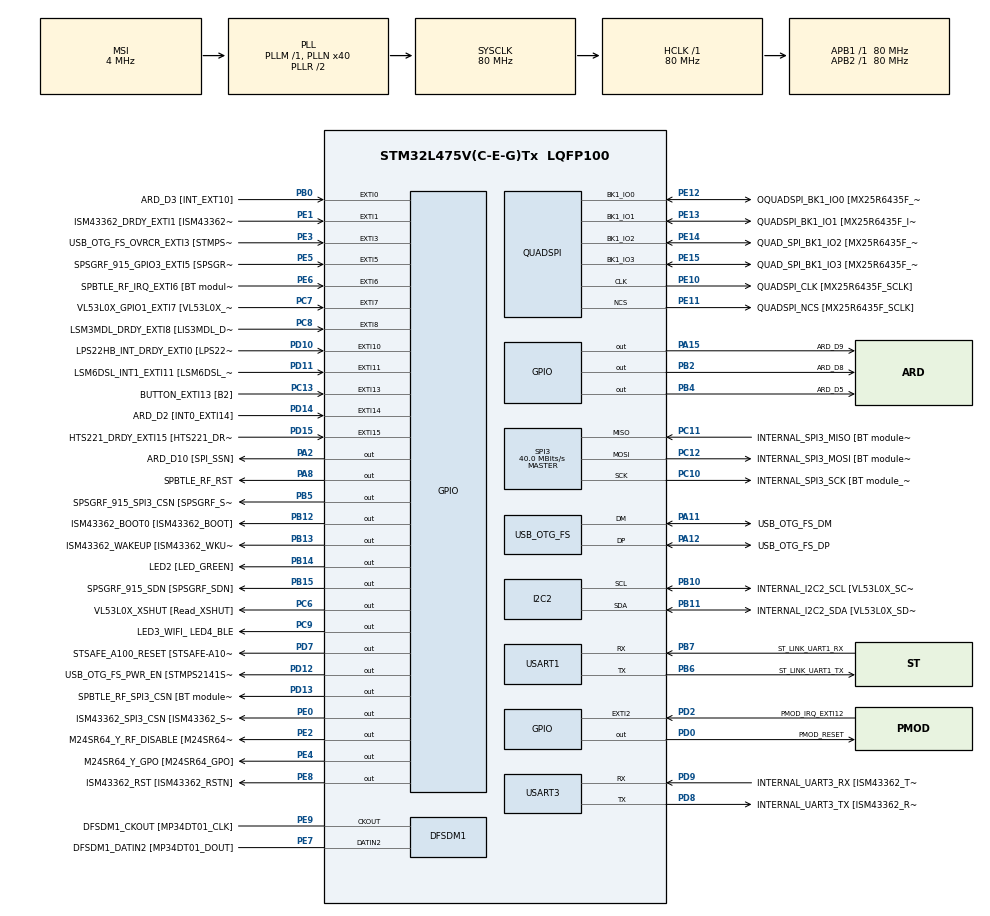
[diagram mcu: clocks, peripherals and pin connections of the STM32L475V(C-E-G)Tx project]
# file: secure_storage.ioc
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Mcu.Family=STM32L4
Mcu.Name=STM32L475V(C-E-G)Tx
Mcu.Package=LQFP100
NVIC.EXTI15_10_IRQn=true\:0\:0\:false\:false\:true\:true\:true\:true
NVIC.EXTI9_5_IRQn=true\:0\:0\:false\:false\:true\:true\:true\:true
NVIC.PriorityGroup=NVIC_PRIORITYGROUP_4
PA0.GPIO_Label=ARD_D1 [UART4_TX]
PA0.Signal=UART4_TX
PA1.GPIO_Label=ARD_D0 [UART4_RX]
PA1.Signal=UART4_RX
PA10.GPIO_Label=USB_OTG_FS_ID
PA10.Signal=USB_OTG_FS_ID
PA11.GPIO_Label=USB_OTG_FS_DM
PA11.Mode=Device_Only
PA11.Signal=USB_OTG_FS_DM
PA12.GPIO_Label=USB_OTG_FS_DP
PA12.Mode=Device_Only
PA12.Signal=USB_OTG_FS_DP
PA13\ (JTMS-SWDIO).GPIO_Label=SYS_JTMS_SWDIO
PA13\ (JTMS-SWDIO).Mode=Serial_Wire
PA13\ (JTMS-SWDIO).Signal=SYS_JTMS-SWDIO
PA14\ (JTCK-SWCLK).GPIO_Label=SYS_JTCK_SWCLK
PA14\ (JTCK-SWCLK).Mode=Serial_Wire
PA14\ (JTCK-SWCLK).Signal=SYS_JTCK-SWCLK
PA15\ (JTDI).GPIO_Label=ARD_D9
PA15\ (JTDI).Signal=GPIO_Output
PA2.GPIO_Label=ARD_D10 [SPI_SSN]
PA2.Signal=GPIO_Output
PA3.GPIO_Label=ARD_D4
PA3.Signal=S_TIM2_CH4
PA4.GPIO_Label=ARD_D7
PA4.Signal=ADCx_IN9
PA5.GPIO_Label=ARD_D13 [SPI1_SCK]
PA5.Signal=SPI1_SCK
PA6.GPIO_Label=ARD_D12 [SPI1_MISO]
PA6.Signal=SPI1_MISO
PA7.GPIO_Label=ARD_D11 [SPI1_MOSI]
PA7.Signal=SPI1_MOSI
PA8.GPIO_Label=SPBTLE_RF_RST
PA8.Signal=GPIO_Output
PA9.GPIO_Label=USB_OTG_FS_VBUS [STMPS2141STR_OUT]
PA9.Signal=USB_OTG_FS_VBUS
PB0.GPIO_Label=ARD_D3 [INT_EXT10]
PB0.Signal=GPXTI0
PB1.GPIO_Label=ARD_D6 [ADC1_IN6]
PB1.Signal=ADCx_IN16
PB10.GPIO_Label=INTERNAL_I2C2_SCL [VL53L0X_SCL]
PB10.GPIO_Pu=GPIO_PULLUP
PB10.Mode=I2C
PB10.Signal=I2C2_SCL
PB11.GPIO_Label=INTERNAL_I2C2_SDA [VL53L0X_SDA]
PB11.GPIO_Pu=GPIO_PULLUP
PB11.Mode=I2C
PB11.Signal=I2C2_SDA
PB12.GPIO_Label=ISM43362_BOOT0 [ISM43362_BOOT]
PB12.Signal=GPIO_Output
PB13.GPIO_Label=ISM43362_WAKEUP [ISM43362_WKUP]
PB13.Signal=GPIO_Output
PB14.GPIO_Label=LED2 [LED_GREEN]
PB14.Signal=GPIO_Output
PB15.GPIO_Label=SPSGRF_915_SDN [SPSGRF_SDN]
PB15.Signal=GPIO_Output
PB2.GPIO_Label=ARD_D8
PB2.Signal=GPIO_Output
PB3\ (JTDO-TRACESWO).GPIO_Label=SYS_JTD0_SWO
PB3\ (JTDO-TRACESWO).Signal=SYS_JTDO-SWO
PB4\ (NJTRST).GPIO_Label=ARD_D5
PB4\ (NJTRST).Signal=GPIO_Output
PB5.GPIO_Label=SPSGRF_915_SPI3_CSN [SPSGRF_SPI_CS]
PB5.PinState=GPIO_PIN_SET
PB5.Signal=GPIO_Output
PB6.GPIO_Label=ST_LINK_UART1_TX
PB6.Mode=Asynchronous
PB6.Signal=USART1_TX
PB7.GPIO_Label=ST_LINK_UART1_RX
PB7.Mode=Asynchronous
PB7.Signal=USART1_RX
PB8.GPIO_Label=ARD_D15 [I2C1_SCL]
PB8.Signal=I2C1_SCL
PB9.GPIO_Label=ARD_D14 [I2C1_SDA]
PB9.Signal=I2C1_SDA
PC0.GPIO_Label=ARD_A5 [ADC]
PC0.Signal=ADCx_IN1
PC1.GPIO_Label=ARD_A4 [ADC]
PC1.Signal=ADCx_IN2
PC10.GPIO_Label=INTERNAL_SPI3_SCK [BT module_SPI_SCLK] [ISM43362_SCK]
PC10.Mode=Full_Duplex_Master
PC10.Signal=SPI3_SCK
PC11.GPIO_Label=INTERNAL_SPI3_MISO [BT module_SPI_MISO] [ISM43362_MISO]
PC11.Mode=Full_Duplex_Master
PC11.Signal=SPI3_MISO
PC12.GPIO_Label=INTERNAL_SPI3_MOSI [BT module_SPI_MOSI] [ISM43362_MOSI]
PC12.Mode=Full_Duplex_Master
PC12.Signal=SPI3_MOSI
PC13.GPIO_Label=BUTTON_EXTI13 [B2]
PC13.GPIO_ModeDefaultEXTI=GPIO_MODE_IT_FALLING
PC13.Signal=GPXTI13
PC14-OSC32_IN\ (PC14).Mode=LSE-External-Oscillator
PC14-OSC32_IN\ (PC14).Signal=RCC_OSC32_IN
PC15-OSC32_OUT\ (PC15).Mode=LSE-External-Oscillator
PC15-OSC32_OUT\ (PC15).Signal=RCC_OSC32_OUT
PC2.GPIO_Label=ARD_A3 [ADC]
PC2.Signal=ADCx_IN3
PC3.GPIO_Label=ARD_A2 [ADC]
PC3.Signal=ADCx_IN4
PC4.GPIO_Label=ARD_A1 [ADC]
PC4.Signal=ADCx_IN13
PC5.GPIO_Label=ARD_A0 [ADC]
PC5.Signal=ADCx_IN14
PC6.GPIO_Label=VL53L0X_XSHUT [Read_XSHUT]
PC6.Signal=GPIO_Output
PC7.GPIO_Label=VL53L0X_GPIO1_EXTI7 [VL53L0X_GPIO1]
PC7.Signal=GPXTI7
PC8.GPIO_Label=LSM3MDL_DRDY_EXTI8 [LIS3MDL_DRDY]
PC8.Signal=GPXTI8
PC9.GPIO_Label=LED3_WIFI_ LED4_BLE
PC9.Signal=GPIO_Output
PD0.GPIO_Label=PMOD_RESET
PD0.Signal=GPIO_Output
PD1.GPIO_Label=PMOD_SPI2_SCK
PD1.Signal=SPI2_SCK
PD10.GPIO_Label=LPS22HB_INT_DRDY_EXTI0 [LPS22HB_INT_DRDY] 
PD10.Signal=GPXTI10
PD11.GPIO_Label=LSM6DSL_INT1_EXTI11 [LSM6DSL_INT1]
PD11.Signal=GPXTI11
PD12.GPIO_Label=USB_OTG_FS_PWR_EN [STMPS2141STR_EN]
PD12.Signal=GPIO_Output
PD13.GPIO_Label=SPBTLE_RF_SPI3_CSN [BT module_SPI_CS]
PD13.PinState=GPIO_PIN_SET
PD13.Signal=GPIO_Output
PD14.GPIO_Label=ARD_D2 [INT0_EXTI14]
PD14.Signal=GPXTI14
PD15.GPIO_Label=HTS221_DRDY_EXTI15 [HTS221_DRDY]
PD15.Signal=GPXTI15
PD2.GPIO_Label=PMOD_IRQ_EXTI12
PD2.Signal=GPXTI2
PD3.GPIO_Label=PMOD_UART2_CTS
PD3.Signal=USART2_CTS
PD4.GPIO_Label=PMOD_UART2_RTS
PD4.Signal=USART2_RTS
PD5.GPIO_Label=PMOD_UART2_TX
PD5.Signal=USART2_TX
PD6.GPIO_Label=PMOD_UART2_RX
PD6.Signal=USART2_RX
PD7.GPIO_Label=STSAFE_A100_RESET [STSAFE-A100_RESET]
PD7.Signal=GPIO_Output
PD8.GPIO_Label=INTERNAL_UART3_TX [ISM43362_RX]
PD8.Mode=Asynchronous
PD8.Signal=USART3_TX
PD9.GPIO_Label=INTERNAL_UART3_RX [ISM43362_TX]
PD9.Mode=Asynchronous
PD9.Signal=USART3_RX
PE0.GPIO_Label=ISM43362_SPI3_CSN [ISM43362_SSN]
PE0.PinState=GPIO_PIN_SET
PE0.Signal=GPIO_Output
PE1.GPIO_Label=ISM43362_DRDY_EXTI1 [ISM43362_DATARDY]
PE1.Signal=GPXTI1
PE10.GPIO_Label=QUADSPI_CLK [MX25R6435F_SCLK]
PE10.Mode=Single Bank
PE10.Signal=QUADSPI_CLK
PE11.GPIO_Label=QUADSPI_NCS [MX25R6435F_SCLK]
PE11.Mode=Single Bank
PE11.Signal=QUADSPI_NCS
PE12.GPIO_Label=OQUADSPI_BK1_IO0 [MX25R6435F_IO0]
PE12.Mode=Single Bank
PE12.Signal=QUADSPI_BK1_IO0
PE13.GPIO_Label=QUADSPI_BK1_IO1 [MX25R6435F_IO1]
PE13.Mode=Single Bank
PE13.Signal=QUADSPI_BK1_IO1
PE14.GPIO_Label=QUAD_SPI_BK1_IO2 [MX25R6435F_IO2]
PE14.Mode=Single Bank
PE14.Signal=QUADSPI_BK1_IO2
PE15.GPIO_Label=QUAD_SPI_BK1_IO3 [MX25R6435F_IO3]
PE15.Mode=Single Bank
PE15.Signal=QUADSPI_BK1_IO3
PE2.GPIO_Label=M24SR64_Y_RF_DISABLE [M24SR64_RFDIS]
PE2.Signal=GPIO_Output
PE3.GPIO_Label=USB_OTG_FS_OVRCR_EXTI3 [STMPS2141STR_FAULT]
PE3.Signal=GPXTI3
PE4.GPIO_Label=M24SR64_Y_GPO [M24SR64_GPO]
PE4.Signal=GPIO_Output
PE5.GPIO_Label=SPSGRF_915_GPIO3_EXTI5 [SPSGRF_GPIO_3]
PE5.Signal=GPXTI5
PE6.GPIO_Label=SPBTLE_RF_IRQ_EXTI6 [BT module_SPI_IRQ]
PE6.Signal=GPXTI6
PE7.GPIO_Label=DFSDM1_DATIN2 [MP34DT01_DOUT]
PE7.Signal=S_DATAIN2DFSDM1
PE8.GPIO_Label=ISM43362_RST [ISM43362_RSTN]
PE8.Signal=GPIO_Output
PE9.GPIO_Label=DFSDM1_CKOUT [MP34DT01_CLK]
PE9.Signal=S_CKOUTDFSDM1
ProjectManager.HeapSize=0x200
ProjectManager.StackSize=0x400
ProjectManager.TargetToolchain=STM32CubeIDE
QUADSPI.ClockPrescaler=2
QUADSPI.FifoThreshold=4
QUADSPI.FlashSize=23
QUADSPI.SampleShifting=QSPI_SAMPLE_SHIFTING_HALFCYCLE
RCC.ADCFreq_Value=48000000
RCC.AHBFreq_Value=80000000
RCC.APB1Freq_Value=80000000
RCC.APB1TimFreq_Value=80000000
RCC.APB2Freq_Value=80000000
RCC.APB2TimFreq_Value=80000000
RCC.CortexFreq_Value=80000000
RCC.HCLKFreq_Value=80000000
RCC.HSE_VALUE=8000000
RCC.HSI_VALUE=16000000
RCC.MSI_VALUE=4000000
RCC.PLLN=40
RCC.PLLSAI1N=24
RCC.SYSCLKFreq_VALUE=80000000
RCC.SYSCLKSource=RCC_SYSCLKSOURCE_PLLCLK
RCC.USBFreq_Value=48000000
RCC.VCOOutputFreq_Value=160000000
SH.ADCx_IN1.0=ADC1_IN1
SH.ADCx_IN13.0=ADC1_IN13
SH.ADCx_IN14.0=ADC1_IN14
SH.ADCx_IN16.0=ADC1_IN16
SH.ADCx_IN2.0=ADC1_IN2
SH.ADCx_IN3.0=ADC1_IN3
SH.ADCx_IN4.0=ADC1_IN4
SH.ADCx_IN9.0=ADC1_IN9
SH.S_CKOUTDFSDM1.0=DFSDM1_CKOUT,CKOUT
SH.S_CKOUTDFSDM1.1=DFSDM1_CKOUT,PDM_SPI_Input_from_ch12_and_Internal_Clock
SH.S_DATAIN2DFSDM1.0=DFSDM1_DATIN2,PDM_SPI_Input_from_ch12_and_Internal_Clock
SH.S_TIM2_CH4.0=TIM2_CH4
SPI3.CalculateBaudRate=40.0 MBits/s
SPI3.Direction=SPI_DIRECTION_2LINES
SPI3.Mode=SPI_MODE_MASTER
SPI3.VirtualType=VM_MASTER
USART1.VirtualMode-Asynchronous=VM_ASYNC
USART3.VirtualMode-Asynchronous=VM_ASYNC
USB_OTG_FS.VirtualMode=Device_Only
VP_RNG_VS_RNG.Mode=RNG_Activate
board=B-L475E-IOT01A1

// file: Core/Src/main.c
/* USER CODE BEGIN Header */
/**
  ******************************************************************************
  * @file           : main.c
  * @brief          : Main program body
  ******************************************************************************
  * @attention
  *
  * Copyright (c) 2024 STMicroelectronics.
  * All rights reserved.
  *
  * This software is licensed under terms that can be found in the LICENSE file
  * in the root directory of this software component.
  * If no LICENSE file comes with this software, it is provided AS-IS.
  *
  ******************************************************************************
  */
/* USER CODE END Header */
#include "main.h"

DFSDM_Channel_HandleTypeDef hdfsdm1_channel1;

I2C_HandleTypeDef hi2c2;

QSPI_HandleTypeDef hqspi;

RNG_HandleTypeDef hrng;

SPI_HandleTypeDef hspi3;

UART_HandleTypeDef huart1;
UART_HandleTypeDef huart3;

PCD_HandleTypeDef hpcd_USB_OTG_FS;

void SystemClock_Config(void);
void PeriphCommonClock_Config(void);
static void MX_GPIO_Init(void);
static void MX_DFSDM1_Init(void);
static void MX_I2C2_Init(void);
static void MX_QUADSPI_Init(void);
static void MX_SPI3_Init(void);
static void MX_USART1_UART_Init(void);
static void MX_USART3_UART_Init(void);
static void MX_USB_OTG_FS_PCD_Init(void);
static void MX_RNG_Init(void);

/* USER CODE BEGIN 0 */
#include "tee_client_api.h"

void rng_init(void)
{
	/* Enable RNG clock source */
	__HAL_RCC_RNG_CLK_ENABLE();

	/* RNG Peripheral enable */
	RNG->CR |= RNG_CR_RNGEN;
}

void rng_deinit(void)
{
	/* Disable RNG peripheral */
	RNG->CR &= ~RNG_CR_RNGEN;

	/* Disable RNG clock source */
	__HAL_RCC_RNG_CLK_DISABLE();
}

uint32_t rng_get(void)
{
	/* Wait until one RNG number is ready */
	while (!(RNG->SR & (RNG_SR_DRDY)));

	/* Get a 32-bit Random number */
	return RNG->DR;
}

/* USER CODE END 0 */

int main(void)
{

  /* MCU Configuration--------------------------------------------------------*/

  /* Reset of all peripherals, Initializes the Flash interface and the Systick. */
  HAL_Init();

  /* Configure the system clock */
  SystemClock_Config();

  /* Configure the peripherals common clocks */
  PeriphCommonClock_Config();

  /* Initialize all configured peripherals */
  MX_GPIO_Init();
  MX_DFSDM1_Init();
  MX_I2C2_Init();
  MX_QUADSPI_Init();
  MX_SPI3_Init();
  MX_USART1_UART_Init();
  MX_USART3_UART_Init();
  MX_USB_OTG_FS_PCD_Init();
  MX_RNG_Init();
  /* USER CODE BEGIN 2 */

  rng_init();

  static TEEC_UUID uuid = {0};
  TEEC_Context ctx;
  TEEC_Session sn;
  int ret = -1;

  ret = TEEC_InitializeContext("Example", &ctx);
  if(ret != 0){
	  return -1;
  }

  ret = TEEC_OpenSession(&ctx, &sn, &uuid, TEEC_LOGIN_PUBLIC, NULL, NULL, NULL);
  if(ret != 0){
	  return -1;
  }

  TEEC_Operation op = {0};

  ret = TEEC_InvokeCommand(&sn, TEEC_COMMAND_CREATE, &op, NULL);
  if(ret != 0){
	  return -1;
  }

  ret = TEEC_InvokeCommand(&sn, TEEC_COMMAND_READ, &op, NULL);
  if(ret != 0){
	  return -1;
  }

  // This will fail as the object already exists
  ret = TEEC_InvokeCommand(&sn, TEEC_COMMAND_WRITE, &op, NULL);

  ret = TEEC_InvokeCommand(&sn, TEEC_COMMAND_READ, &op, NULL);
  if(ret != 0){
	  return -1;
  }

  ret = TEEC_InvokeCommand(&sn, TEEC_COMMAND_DELETE, &op, NULL);
  if(ret != 0){
	  return -1;
  }

  // This will fail as the object was deleted
  ret = TEEC_InvokeCommand(&sn, TEEC_COMMAND_READ, &op, NULL);

  // Close session
  TEEC_CloseSession(&sn);

  // Finalize context
  TEEC_FinalizeContext(&ctx);

  rng_deinit();

  /* USER CODE END 2 */

  /* Infinite loop */
  while (1)
  {

  }
}

void SystemClock_Config(void)
{
  RCC_OscInitTypeDef RCC_OscInitStruct = {0};
  RCC_ClkInitTypeDef RCC_ClkInitStruct = {0};

  /** Configure the main internal regulator output voltage
  */
  if (HAL_PWREx_ControlVoltageScaling(PWR_REGULATOR_VOLTAGE_SCALE1) != HAL_OK)
  {
    Error_Handler();
  }

  /** Configure LSE Drive Capability
  */
  HAL_PWR_EnableBkUpAccess();
  __HAL_RCC_LSEDRIVE_CONFIG(RCC_LSEDRIVE_LOW);

  /** Initializes the RCC Oscillators according to the specified parameters
  * in the RCC_OscInitTypeDef structure.
  */

  /* MSI is enabled after System reset, activate PLL with MSI as source */
  RCC_OscInitStruct.OscillatorType = RCC_OSCILLATORTYPE_MSI;
  RCC_OscInitStruct.MSIState = RCC_MSI_ON;
  RCC_OscInitStruct.MSIClockRange = RCC_MSIRANGE_6;
  RCC_OscInitStruct.MSICalibrationValue = RCC_MSICALIBRATION_DEFAULT;
  RCC_OscInitStruct.PLL.PLLState = RCC_PLL_ON;
  RCC_OscInitStruct.PLL.PLLSource = RCC_PLLSOURCE_MSI;
  RCC_OscInitStruct.PLL.PLLM = 1;
  RCC_OscInitStruct.PLL.PLLN = 40;
  RCC_OscInitStruct.PLL.PLLR = 2;
  RCC_OscInitStruct.PLL.PLLP = 7;
  RCC_OscInitStruct.PLL.PLLQ = 4;
  if(HAL_RCC_OscConfig(&RCC_OscInitStruct) != HAL_OK)
  {
    /* Initialization Error */
    Error_Handler();
  }

  /* Select PLL as system clock source and configure the HCLK, PCLK1 and PCLK2 clocks dividers */
  RCC_ClkInitStruct.ClockType = (RCC_CLOCKTYPE_SYSCLK | RCC_CLOCKTYPE_HCLK | RCC_CLOCKTYPE_PCLK1 | RCC_CLOCKTYPE_PCLK2);
  RCC_ClkInitStruct.SYSCLKSource = RCC_SYSCLKSOURCE_PLLCLK;
  RCC_ClkInitStruct.AHBCLKDivider = RCC_SYSCLK_DIV1;
  RCC_ClkInitStruct.APB1CLKDivider = RCC_HCLK_DIV1;
  RCC_ClkInitStruct.APB2CLKDivider = RCC_HCLK_DIV1;
  if(HAL_RCC_ClockConfig(&RCC_ClkInitStruct, FLASH_LATENCY_4) != HAL_OK)
  {
    /* Initialization Error */
    Error_Handler();
  }

  /** Enable MSI Auto calibration
  */
  HAL_RCCEx_EnableMSIPLLMode();
}

void PeriphCommonClock_Config(void)
{
  RCC_PeriphCLKInitTypeDef PeriphClkInit = {0};

  /** Initializes the peripherals clock
  */
  PeriphClkInit.PeriphClockSelection = RCC_PERIPHCLK_USB|RCC_PERIPHCLK_RNG;
  PeriphClkInit.UsbClockSelection = RCC_USBCLKSOURCE_PLLSAI1;
  PeriphClkInit.RngClockSelection = RCC_RNGCLKSOURCE_PLLSAI1;
  PeriphClkInit.PLLSAI1.PLLSAI1Source = RCC_PLLSOURCE_MSI;
  PeriphClkInit.PLLSAI1.PLLSAI1M = 1;
  PeriphClkInit.PLLSAI1.PLLSAI1N = 24;
  PeriphClkInit.PLLSAI1.PLLSAI1P = RCC_PLLP_DIV7;
  PeriphClkInit.PLLSAI1.PLLSAI1Q = RCC_PLLQ_DIV2;
  PeriphClkInit.PLLSAI1.PLLSAI1R = RCC_PLLR_DIV2;
  PeriphClkInit.PLLSAI1.PLLSAI1ClockOut = RCC_PLLSAI1_48M2CLK;
  if (HAL_RCCEx_PeriphCLKConfig(&PeriphClkInit) != HAL_OK)
  {
    Error_Handler();
  }
}

static void MX_DFSDM1_Init(void)
{

  hdfsdm1_channel1.Instance = DFSDM1_Channel1;
  hdfsdm1_channel1.Init.OutputClock.Activation = ENABLE;
  hdfsdm1_channel1.Init.OutputClock.Selection = DFSDM_CHANNEL_OUTPUT_CLOCK_SYSTEM;
  hdfsdm1_channel1.Init.OutputClock.Divider = 2;
  hdfsdm1_channel1.Init.Input.Multiplexer = DFSDM_CHANNEL_EXTERNAL_INPUTS;
  hdfsdm1_channel1.Init.Input.DataPacking = DFSDM_CHANNEL_STANDARD_MODE;
  hdfsdm1_channel1.Init.Input.Pins = DFSDM_CHANNEL_FOLLOWING_CHANNEL_PINS;
  hdfsdm1_channel1.Init.SerialInterface.Type = DFSDM_CHANNEL_SPI_RISING;
  hdfsdm1_channel1.Init.SerialInterface.SpiClock = DFSDM_CHANNEL_SPI_CLOCK_INTERNAL;
  hdfsdm1_channel1.Init.Awd.FilterOrder = DFSDM_CHANNEL_FASTSINC_ORDER;
  hdfsdm1_channel1.Init.Awd.Oversampling = 1;
  hdfsdm1_channel1.Init.Offset = 0;
  hdfsdm1_channel1.Init.RightBitShift = 0x00;
  if (HAL_DFSDM_ChannelInit(&hdfsdm1_channel1) != HAL_OK)
  {
    Error_Handler();
  }

}

static void MX_I2C2_Init(void)
{

  hi2c2.Instance = I2C2;
  hi2c2.Init.Timing = 0x00000E14;
  hi2c2.Init.OwnAddress1 = 0;
  hi2c2.Init.AddressingMode = I2C_ADDRESSINGMODE_7BIT;
  hi2c2.Init.DualAddressMode = I2C_DUALADDRESS_DISABLE;
  hi2c2.Init.OwnAddress2 = 0;
  hi2c2.Init.OwnAddress2Masks = I2C_OA2_NOMASK;
  hi2c2.Init.GeneralCallMode = I2C_GENERALCALL_DISABLE;
  hi2c2.Init.NoStretchMode = I2C_NOSTRETCH_DISABLE;
  if (HAL_I2C_Init(&hi2c2) != HAL_OK)
  {
    Error_Handler();
  }

  /** Configure Analogue filter
  */
  if (HAL_I2CEx_ConfigAnalogFilter(&hi2c2, I2C_ANALOGFILTER_ENABLE) != HAL_OK)
  {
    Error_Handler();
  }

  /** Configure Digital filter
  */
  if (HAL_I2CEx_ConfigDigitalFilter(&hi2c2, 0) != HAL_OK)
  {
    Error_Handler();
  }

}

static void MX_QUADSPI_Init(void)
{

  /* QUADSPI parameter configuration*/
  hqspi.Instance = QUADSPI;
  hqspi.Init.ClockPrescaler = 2;
  hqspi.Init.FifoThreshold = 4;
  hqspi.Init.SampleShifting = QSPI_SAMPLE_SHIFTING_HALFCYCLE;
  hqspi.Init.FlashSize = 23;
  hqspi.Init.ChipSelectHighTime = QSPI_CS_HIGH_TIME_1_CYCLE;
  hqspi.Init.ClockMode = QSPI_CLOCK_MODE_0;
  if (HAL_QSPI_Init(&hqspi) != HAL_OK)
  {
    Error_Handler();
  }

}

static void MX_RNG_Init(void)
{

  hrng.Instance = RNG;
  if (HAL_RNG_Init(&hrng) != HAL_OK)
  {
    Error_Handler();
  }

}

static void MX_SPI3_Init(void)
{

  /* SPI3 parameter configuration*/
  hspi3.Instance = SPI3;
  hspi3.Init.Mode = SPI_MODE_MASTER;
  hspi3.Init.Direction = SPI_DIRECTION_2LINES;
  hspi3.Init.DataSize = SPI_DATASIZE_4BIT;
  hspi3.Init.CLKPolarity = SPI_POLARITY_LOW;
  hspi3.Init.CLKPhase = SPI_PHASE_1EDGE;
  hspi3.Init.NSS = SPI_NSS_SOFT;
  hspi3.Init.BaudRatePrescaler = SPI_BAUDRATEPRESCALER_2;
  hspi3.Init.FirstBit = SPI_FIRSTBIT_MSB;
  hspi3.Init.TIMode = SPI_TIMODE_DISABLE;
  hspi3.Init.CRCCalculation = SPI_CRCCALCULATION_DISABLE;
  hspi3.Init.CRCPolynomial = 7;
  hspi3.Init.CRCLength = SPI_CRC_LENGTH_DATASIZE;
  hspi3.Init.NSSPMode = SPI_NSS_PULSE_ENABLE;
  if (HAL_SPI_Init(&hspi3) != HAL_OK)
  {
    Error_Handler();
  }

}

static void MX_USART1_UART_Init(void)
{

  huart1.Instance = USART1;
  huart1.Init.BaudRate = 115200;
  huart1.Init.WordLength = UART_WORDLENGTH_8B;
  huart1.Init.StopBits = UART_STOPBITS_1;
  huart1.Init.Parity = UART_PARITY_NONE;
  huart1.Init.Mode = UART_MODE_TX_RX;
  huart1.Init.HwFlowCtl = UART_HWCONTROL_NONE;
  huart1.Init.OverSampling = UART_OVERSAMPLING_16;
  huart1.Init.OneBitSampling = UART_ONE_BIT_SAMPLE_DISABLE;
  huart1.AdvancedInit.AdvFeatureInit = UART_ADVFEATURE_NO_INIT;
  if (HAL_UART_Init(&huart1) != HAL_OK)
  {
    Error_Handler();
  }

}

static void MX_USART3_UART_Init(void)
{

  huart3.Instance = USART3;
  huart3.Init.BaudRate = 115200;
  huart3.Init.WordLength = UART_WORDLENGTH_8B;
  huart3.Init.StopBits = UART_STOPBITS_1;
  huart3.Init.Parity = UART_PARITY_NONE;
  huart3.Init.Mode = UART_MODE_TX_RX;
  huart3.Init.HwFlowCtl = UART_HWCONTROL_NONE;
  huart3.Init.OverSampling = UART_OVERSAMPLING_16;
  huart3.Init.OneBitSampling = UART_ONE_BIT_SAMPLE_DISABLE;
  huart3.AdvancedInit.AdvFeatureInit = UART_ADVFEATURE_NO_INIT;
  if (HAL_UART_Init(&huart3) != HAL_OK)
  {
    Error_Handler();
  }

}

static void MX_USB_OTG_FS_PCD_Init(void)
{

  hpcd_USB_OTG_FS.Instance = USB_OTG_FS;
  hpcd_USB_OTG_FS.Init.dev_endpoints = 6;
  hpcd_USB_OTG_FS.Init.speed = PCD_SPEED_FULL;
  hpcd_USB_OTG_FS.Init.phy_itface = PCD_PHY_EMBEDDED;
  hpcd_USB_OTG_FS.Init.Sof_enable = DISABLE;
  hpcd_USB_OTG_FS.Init.low_power_enable = DISABLE;
  hpcd_USB_OTG_FS.Init.lpm_enable = DISABLE;
  hpcd_USB_OTG_FS.Init.battery_charging_enable = DISABLE;
  hpcd_USB_OTG_FS.Init.use_dedicated_ep1 = DISABLE;
  hpcd_USB_OTG_FS.Init.vbus_sensing_enable = DISABLE;
  if (HAL_PCD_Init(&hpcd_USB_OTG_FS) != HAL_OK)
  {
    Error_Handler();
  }

}

static void MX_GPIO_Init(void)
{
  GPIO_InitTypeDef GPIO_InitStruct = {0};

  /* GPIO Ports Clock Enable */
  __HAL_RCC_GPIOE_CLK_ENABLE();
  __HAL_RCC_GPIOC_CLK_ENABLE();
  __HAL_RCC_GPIOA_CLK_ENABLE();
  __HAL_RCC_GPIOB_CLK_ENABLE();
  __HAL_RCC_GPIOD_CLK_ENABLE();

  /*Configure GPIO pin Output Level */
  HAL_GPIO_WritePin(GPIOE, M24SR64_Y_RF_DISABLE_Pin|M24SR64_Y_GPO_Pin|ISM43362_RST_Pin, GPIO_PIN_RESET);

  /*Configure GPIO pin Output Level */
  HAL_GPIO_WritePin(GPIOA, ARD_D10_Pin|SPBTLE_RF_RST_Pin|ARD_D9_Pin, GPIO_PIN_RESET);

  /*Configure GPIO pin Output Level */
  HAL_GPIO_WritePin(GPIOB, ARD_D8_Pin|ISM43362_BOOT0_Pin|ISM43362_WAKEUP_Pin|LED2_Pin
                          |SPSGRF_915_SDN_Pin|ARD_D5_Pin, GPIO_PIN_RESET);

  /*Configure GPIO pin Output Level */
  HAL_GPIO_WritePin(GPIOD, USB_OTG_FS_PWR_EN_Pin|PMOD_RESET_Pin|STSAFE_A100_RESET_Pin, GPIO_PIN_RESET);

  /*Configure GPIO pin Output Level */
  HAL_GPIO_WritePin(SPBTLE_RF_SPI3_CSN_GPIO_Port, SPBTLE_RF_SPI3_CSN_Pin, GPIO_PIN_SET);

  /*Configure GPIO pin Output Level */
  HAL_GPIO_WritePin(GPIOC, VL53L0X_XSHUT_Pin|LED3_WIFI__LED4_BLE_Pin, GPIO_PIN_RESET);

  /*Configure GPIO pin Output Level */
  HAL_GPIO_WritePin(SPSGRF_915_SPI3_CSN_GPIO_Port, SPSGRF_915_SPI3_CSN_Pin, GPIO_PIN_SET);

  /*Configure GPIO pin Output Level */
  HAL_GPIO_WritePin(ISM43362_SPI3_CSN_GPIO_Port, ISM43362_SPI3_CSN_Pin, GPIO_PIN_SET);

  /*Configure GPIO pins : M24SR64_Y_RF_DISABLE_Pin M24SR64_Y_GPO_Pin ISM43362_RST_Pin ISM43362_SPI3_CSN_Pin */
  GPIO_InitStruct.Pin = M24SR64_Y_RF_DISABLE_Pin|M24SR64_Y_GPO_Pin|ISM43362_RST_Pin|ISM43362_SPI3_CSN_Pin;
  GPIO_InitStruct.Mode = GPIO_MODE_OUTPUT_PP;
  GPIO_InitStruct.Pull = GPIO_NOPULL;
  GPIO_InitStruct.Speed = GPIO_SPEED_FREQ_LOW;
  HAL_GPIO_Init(GPIOE, &GPIO_InitStruct);

  /*Configure GPIO pins : USB_OTG_FS_OVRCR_EXTI3_Pin SPSGRF_915_GPIO3_EXTI5_Pin SPBTLE_RF_IRQ_EXTI6_Pin ISM43362_DRDY_EXTI1_Pin */
  GPIO_InitStruct.Pin = USB_OTG_FS_OVRCR_EXTI3_Pin|SPSGRF_915_GPIO3_EXTI5_Pin|SPBTLE_RF_IRQ_EXTI6_Pin|ISM43362_DRDY_EXTI1_Pin;
  GPIO_InitStruct.Mode = GPIO_MODE_IT_RISING;
  GPIO_InitStruct.Pull = GPIO_NOPULL;
  HAL_GPIO_Init(GPIOE, &GPIO_InitStruct);

  /*Configure GPIO pin : BUTTON_EXTI13_Pin */
  GPIO_InitStruct.Pin = BUTTON_EXTI13_Pin;
  GPIO_InitStruct.Mode = GPIO_MODE_IT_FALLING;
  GPIO_InitStruct.Pull = GPIO_NOPULL;
  HAL_GPIO_Init(BUTTON_EXTI13_GPIO_Port, &GPIO_InitStruct);

  /*Configure GPIO pins : ARD_A5_Pin ARD_A4_Pin ARD_A3_Pin ARD_A2_Pin
                           ARD_A1_Pin ARD_A0_Pin */
  GPIO_InitStruct.Pin = ARD_A5_Pin|ARD_A4_Pin|ARD_A3_Pin|ARD_A2_Pin
                          |ARD_A1_Pin|ARD_A0_Pin;
  GPIO_InitStruct.Mode = GPIO_MODE_ANALOG_ADC_CONTROL;
  GPIO_InitStruct.Pull = GPIO_NOPULL;
  HAL_GPIO_Init(GPIOC, &GPIO_InitStruct);

  /*Configure GPIO pins : ARD_D1_Pin ARD_D0_Pin */
  GPIO_InitStruct.Pin = ARD_D1_Pin|ARD_D0_Pin;
  GPIO_InitStruct.Mode = GPIO_MODE_AF_PP;
  GPIO_InitStruct.Pull = GPIO_NOPULL;
  GPIO_InitStruct.Speed = GPIO_SPEED_FREQ_VERY_HIGH;
  GPIO_InitStruct.Alternate = GPIO_AF8_UART4;
  HAL_GPIO_Init(GPIOA, &GPIO_InitStruct);

  /*Configure GPIO pins : ARD_D10_Pin SPBTLE_RF_RST_Pin ARD_D9_Pin */
  GPIO_InitStruct.Pin = ARD_D10_Pin|SPBTLE_RF_RST_Pin|ARD_D9_Pin;
  GPIO_InitStruct.Mode = GPIO_MODE_OUTPUT_PP;
  GPIO_InitStruct.Pull = GPIO_NOPULL;
  GPIO_InitStruct.Speed = GPIO_SPEED_FREQ_LOW;
  HAL_GPIO_Init(GPIOA, &GPIO_InitStruct);

  /*Configure GPIO pin : ARD_D4_Pin */
  GPIO_InitStruct.Pin = ARD_D4_Pin;
  GPIO_InitStruct.Mode = GPIO_MODE_AF_PP;
  GPIO_InitStruct.Pull = GPIO_NOPULL;
  GPIO_InitStruct.Speed = GPIO_SPEED_FREQ_LOW;
  GPIO_InitStruct.Alternate = GPIO_AF1_TIM2;
  HAL_GPIO_Init(ARD_D4_GPIO_Port, &GPIO_InitStruct);

  /*Configure GPIO pin : ARD_D7_Pin */
  GPIO_InitStruct.Pin = ARD_D7_Pin;
  GPIO_InitStruct.Mode = GPIO_MODE_ANALOG_ADC_CONTROL;
  GPIO_InitStruct.Pull = GPIO_NOPULL;
  HAL_GPIO_Init(ARD_D7_GPIO_Port, &GPIO_InitStruct);

  /*Configure GPIO pins : ARD_D13_Pin ARD_D12_Pin ARD_D11_Pin */
  GPIO_InitStruct.Pin = ARD_D13_Pin|ARD_D12_Pin|ARD_D11_Pin;
  GPIO_InitStruct.Mode = GPIO_MODE_AF_PP;
  GPIO_InitStruct.Pull = GPIO_NOPULL;
  GPIO_InitStruct.Speed = GPIO_SPEED_FREQ_VERY_HIGH;
  GPIO_InitStruct.Alternate = GPIO_AF5_SPI1;
  HAL_GPIO_Init(GPIOA, &GPIO_InitStruct);

  /*Configure GPIO pin : ARD_D3_Pin */
  GPIO_InitStruct.Pin = ARD_D3_Pin;
  GPIO_InitStruct.Mode = GPIO_MODE_IT_RISING;
  GPIO_InitStruct.Pull = GPIO_NOPULL;
  HAL_GPIO_Init(ARD_D3_GPIO_Port, &GPIO_InitStruct);

  /*Configure GPIO pin : ARD_D6_Pin */
  GPIO_InitStruct.Pin = ARD_D6_Pin;
  GPIO_InitStruct.Mode = GPIO_MODE_ANALOG_ADC_CONTROL;
  GPIO_InitStruct.Pull = GPIO_NOPULL;
  HAL_GPIO_Init(ARD_D6_GPIO_Port, &GPIO_InitStruct);

  /*Configure GPIO pins : ARD_D8_Pin ISM43362_BOOT0_Pin ISM43362_WAKEUP_Pin LED2_Pin
                           SPSGRF_915_SDN_Pin ARD_D5_Pin SPSGRF_915_SPI3_CSN_Pin */
  GPIO_InitStruct.Pin = ARD_D8_Pin|ISM43362_BOOT0_Pin|ISM43362_WAKEUP_Pin|LED2_Pin
                          |SPSGRF_915_SDN_Pin|ARD_D5_Pin|SPSGRF_915_SPI3_CSN_Pin;
  GPIO_InitStruct.Mode = GPIO_MODE_OUTPUT_PP;
  GPIO_InitStruct.Pull = GPIO_NOPULL;
  GPIO_InitStruct.Speed = GPIO_SPEED_FREQ_LOW;
  HAL_GPIO_Init(GPIOB, &GPIO_InitStruct);

  /*Configure GPIO pins : LPS22HB_INT_DRDY_EXTI0_Pin LSM6DSL_INT1_EXTI11_Pin ARD_D2_Pin HTS221_DRDY_EXTI15_Pin
                           PMOD_IRQ_EXTI12_Pin */
  GPIO_InitStruct.Pin = LPS22HB_INT_DRDY_EXTI0_Pin|LSM6DSL_INT1_EXTI11_Pin|ARD_D2_Pin|HTS221_DRDY_EXTI15_Pin
                          |PMOD_IRQ_EXTI12_Pin;
  GPIO_InitStruct.Mode = GPIO_MODE_IT_RISING;
  GPIO_InitStruct.Pull = GPIO_NOPULL;
  HAL_GPIO_Init(GPIOD, &GPIO_InitStruct);

  /*Configure GPIO pins : USB_OTG_FS_PWR_EN_Pin SPBTLE_RF_SPI3_CSN_Pin PMOD_RESET_Pin STSAFE_A100_RESET_Pin */
  GPIO_InitStruct.Pin = USB_OTG_FS_PWR_EN_Pin|SPBTLE_RF_SPI3_CSN_Pin|PMOD_RESET_Pin|STSAFE_A100_RESET_Pin;
  GPIO_InitStruct.Mode = GPIO_MODE_OUTPUT_PP;
  GPIO_InitStruct.Pull = GPIO_NOPULL;
  GPIO_InitStruct.Speed = GPIO_SPEED_FREQ_LOW;
  HAL_GPIO_Init(GPIOD, &GPIO_InitStruct);

  /*Configure GPIO pins : VL53L0X_XSHUT_Pin LED3_WIFI__LED4_BLE_Pin */
  GPIO_InitStruct.Pin = VL53L0X_XSHUT_Pin|LED3_WIFI__LED4_BLE_Pin;
  GPIO_InitStruct.Mode = GPIO_MODE_OUTPUT_PP;
  GPIO_InitStruct.Pull = GPIO_NOPULL;
  GPIO_InitStruct.Speed = GPIO_SPEED_FREQ_LOW;
  HAL_GPIO_Init(GPIOC, &GPIO_InitStruct);

  /*Configure GPIO pins : VL53L0X_GPIO1_EXTI7_Pin LSM3MDL_DRDY_EXTI8_Pin */
  GPIO_InitStruct.Pin = VL53L0X_GPIO1_EXTI7_Pin|LSM3MDL_DRDY_EXTI8_Pin;
  GPIO_InitStruct.Mode = GPIO_MODE_IT_RISING;
  GPIO_InitStruct.Pull = GPIO_NOPULL;
  HAL_GPIO_Init(GPIOC, &GPIO_InitStruct);

  /*Configure GPIO pin : PMOD_SPI2_SCK_Pin */
  GPIO_InitStruct.Pin = PMOD_SPI2_SCK_Pin;
  GPIO_InitStruct.Mode = GPIO_MODE_AF_PP;
  GPIO_InitStruct.Pull = GPIO_NOPULL;
  GPIO_InitStruct.Speed = GPIO_SPEED_FREQ_VERY_HIGH;
  GPIO_InitStruct.Alternate = GPIO_AF5_SPI2;
  HAL_GPIO_Init(PMOD_SPI2_SCK_GPIO_Port, &GPIO_InitStruct);

  /*Configure GPIO pins : PMOD_UART2_CTS_Pin PMOD_UART2_RTS_Pin PMOD_UART2_TX_Pin PMOD_UART2_RX_Pin */
  GPIO_InitStruct.Pin = PMOD_UART2_CTS_Pin|PMOD_UART2_RTS_Pin|PMOD_UART2_TX_Pin|PMOD_UART2_RX_Pin;
  GPIO_InitStruct.Mode = GPIO_MODE_AF_PP;
  GPIO_InitStruct.Pull = GPIO_NOPULL;
  GPIO_InitStruct.Speed = GPIO_SPEED_FREQ_VERY_HIGH;
  GPIO_InitStruct.Alternate = GPIO_AF7_USART2;
  HAL_GPIO_Init(GPIOD, &GPIO_InitStruct);

  /*Configure GPIO pins : ARD_D15_Pin ARD_D14_Pin */
  GPIO_InitStruct.Pin = ARD_D15_Pin|ARD_D14_Pin;
  GPIO_InitStruct.Mode = GPIO_MODE_AF_OD;
  GPIO_InitStruct.Pull = GPIO_NOPULL;
  GPIO_InitStruct.Speed = GPIO_SPEED_FREQ_VERY_HIGH;
  GPIO_InitStruct.Alternate = GPIO_AF4_I2C1;
  HAL_GPIO_Init(GPIOB, &GPIO_InitStruct);

  /* EXTI interrupt init*/
  HAL_NVIC_SetPriority(EXTI9_5_IRQn, 0, 0);
  HAL_NVIC_EnableIRQ(EXTI9_5_IRQn);

  HAL_NVIC_SetPriority(EXTI15_10_IRQn, 0, 0);
  HAL_NVIC_EnableIRQ(EXTI15_10_IRQn);

}

void Error_Handler(void)
{
  __disable_irq();
  while (1)
  {
  }
}
